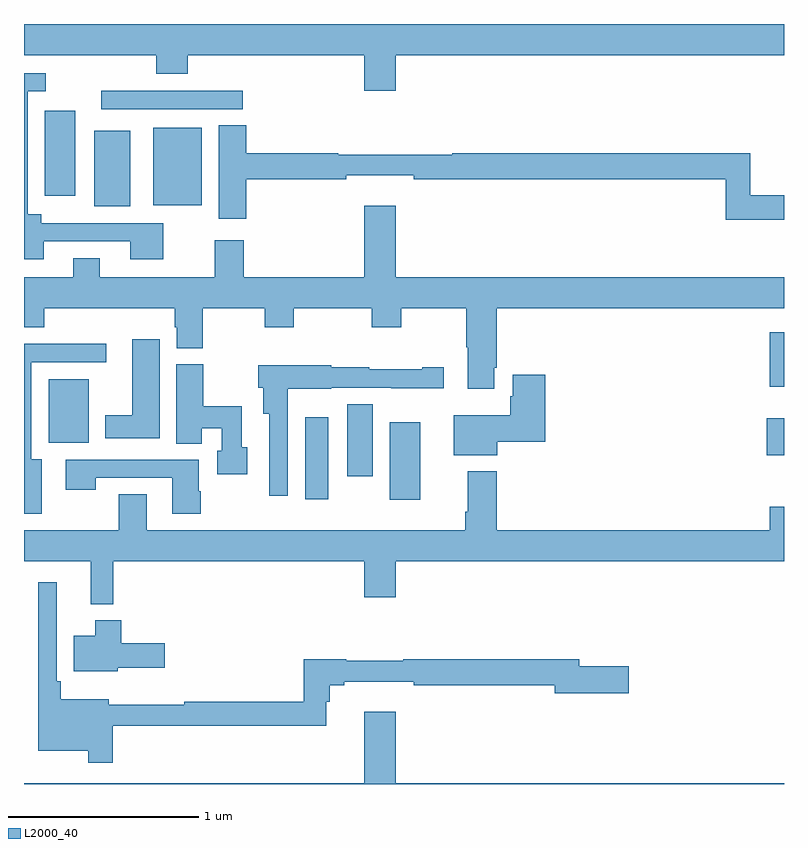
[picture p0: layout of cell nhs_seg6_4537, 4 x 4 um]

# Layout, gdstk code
import gdstk
lib = gdstk.Library(unit=1e-6, precision=1e-09)
def R(c, l, rs):  # rectangles x0, y0, x1, y1
    for r in rs: c.add(gdstk.rectangle(r[:2], r[2:], *l))
def P(c, l, *ps):  # polygons
    for p in ps: c.add(gdstk.Polygon(p, *l))
L2000_40 = (2000, 40)

nhs_seg6_4537 = lib.new_cell('nhs_seg6_4537')
R(nhs_seg6_4537, L2000_40, [(380.924,944.997,381.085,945.403), (380.48,945,380.602,945.43), (380.702,945.12,380.836,945.5), (382.91,945.23,383,945.424), (379.13,945.296,379.342,945.631), (382.925,945.59,383,945.877), (379.37,946.541,379.558,946.939), (379.679,946.547,379.936,946.954), (379.109,946.596,379.27,947.044), (379.407,947.052,380.152,947.148)])
P(nhs_seg6_4537, L2000_40, [(380.956,947.336),(383,947.336),(383,947.5),(379,947.5),(379,947.336),(379.697,947.336),(379.697,947.237),(379.862,947.237),(379.862,947.336),(380.792,947.336),(380.792,947.148),(380.956,947.148)],
  [(379.105,946.356),(379.559,946.356),(379.559,946.262),(379.732,946.262),(379.732,946.452),(379.09,946.452),(379.09,946.498),(379.02,946.498),(379.02,947.145),(379.114,947.145),(379.114,947.241),(379,947.241),(379,946.262),(379.105,946.262)],
  [(383,946.598),(382.822,946.598),(382.822,946.82),(381.254,946.82),(381.254,946.813),(380.654,946.813),(380.654,946.82),(380.171,946.82),(380.171,946.967),(380.024,946.967),(380.024,946.476),(380.171,946.476),(380.171,946.684),(380.696,946.684),(380.696,946.703),(381.052,946.703),(381.052,946.684),(382.693,946.684),(382.693,946.47),(383,946.47)],
  [(381.475,945.691),(381.488,945.691),(381.488,946.004),(383,946.004),(383,946.168),(380.956,946.168),(380.956,946.543),(380.792,946.543),(380.792,946.168),(380.156,946.168),(380.156,946.363),(380.003,946.363),(380.003,946.168),(379.399,946.168),(379.399,946.267),(379.259,946.267),(379.259,946.168),(379,946.168),(379,945.905),(379.106,945.905),(379.106,946.004),(379.793,946.004),(379.793,945.903),(379.805,945.903),(379.805,945.793),(379.941,945.793),(379.941,946.004),(380.266,946.004),(380.266,945.905),(380.421,945.905),(380.421,946.004),(380.83,946.004),(380.83,945.905),(380.985,945.905),(380.985,946.004),(381.328,946.004),(381.328,945.8),(381.335,945.8),(381.335,945.579),(381.475,945.579)],
  [(379.714,945.841),(379.571,945.841),(379.571,945.442),(379.427,945.442),(379.427,945.32),(379.714,945.32)],
  [(379.093,945.208),(379.039,945.208),(379.039,945.72),(379.432,945.72),(379.432,945.818),(379,945.818),(379,944.922),(379.093,944.922)],
  [(380.176,945.272),(380.146,945.272),(380.146,945.488),(379.944,945.488),(379.944,945.708),(379.802,945.708),(379.802,945.292),(379.936,945.292),(379.936,945.372),(380.042,945.372),(380.042,945.255),(380.018,945.255),(380.018,945.13),(380.176,945.13)],
  [(380.388,945.581),(380.616,945.581),(380.616,945.585),(380.932,945.585),(380.932,945.584),(381.208,945.584),(381.208,945.694),(381.095,945.694),(381.095,945.684),(380.816,945.684),(380.816,945.694),(380.616,945.694),(380.616,945.703),(380.233,945.703),(380.233,945.585),(380.258,945.585),(380.258,945.449),(380.292,945.449),(380.292,945.018),(380.388,945.018)],
  [(381.49,945.302),(381.743,945.302),(381.743,945.655),(381.572,945.655),(381.572,945.54),(381.56,945.54),(381.56,945.442),(381.263,945.442),(381.263,945.23),(381.49,945.23)],
  [(379.929,945.041),(379.921,945.041),(379.921,945.207),(379.221,945.207),(379.221,945.048),(379.377,945.048),(379.377,945.111),(379.781,945.111),(379.781,944.922),(379.929,944.922)],
  [(379.469,944.672),(380.792,944.672),(380.792,944.484),(380.956,944.484),(380.956,944.672),(383,944.672),(383,944.96),(382.925,944.96),(382.925,944.836),(381.488,944.836),(381.488,945.145),(381.335,945.145),(381.335,944.932),(381.323,944.932),(381.323,944.836),(379.645,944.836),(379.645,945.026),(379.498,945.026),(379.498,944.836),(379,944.836),(379,944.672),(379.352,944.672),(379.352,944.447),(379.469,944.447)],
  [(379.466,943.806),(380.591,943.806),(380.591,943.932),(380.609,943.932),(380.609,944.02),(380.686,944.02),(380.686,944.039),(381.052,944.039),(381.052,944.02),(381.794,944.02),(381.794,943.978),(382.183,943.978),(382.183,944.12),(381.922,944.12),(381.922,944.156),(380.996,944.156),(380.996,944.149),(380.696,944.149),(380.696,944.156),(380.473,944.156),(380.473,943.934),(379.843,943.934),(379.843,943.916),(379.447,943.916),(379.447,943.945),(379.193,943.945),(379.193,944.041),(379.173,944.041),(379.173,944.563),(379.076,944.563),(379.076,943.676),(379.338,943.676),(379.338,943.611),(379.466,943.611)],
  [(379.494,944.111),(379.741,944.111),(379.741,944.241),(379.511,944.241),(379.511,944.362),(379.376,944.362),(379.376,944.281),(379.262,944.281),(379.262,944.093),(379.494,944.093)],
  [(383,943.504),(380.956,943.504),(380.956,943.879),(380.792,943.879),(380.792,943.504),(379,943.504),(379,943.5),(383,943.5)])

lib.write_gds('nhs_seg6_4537.gds')
